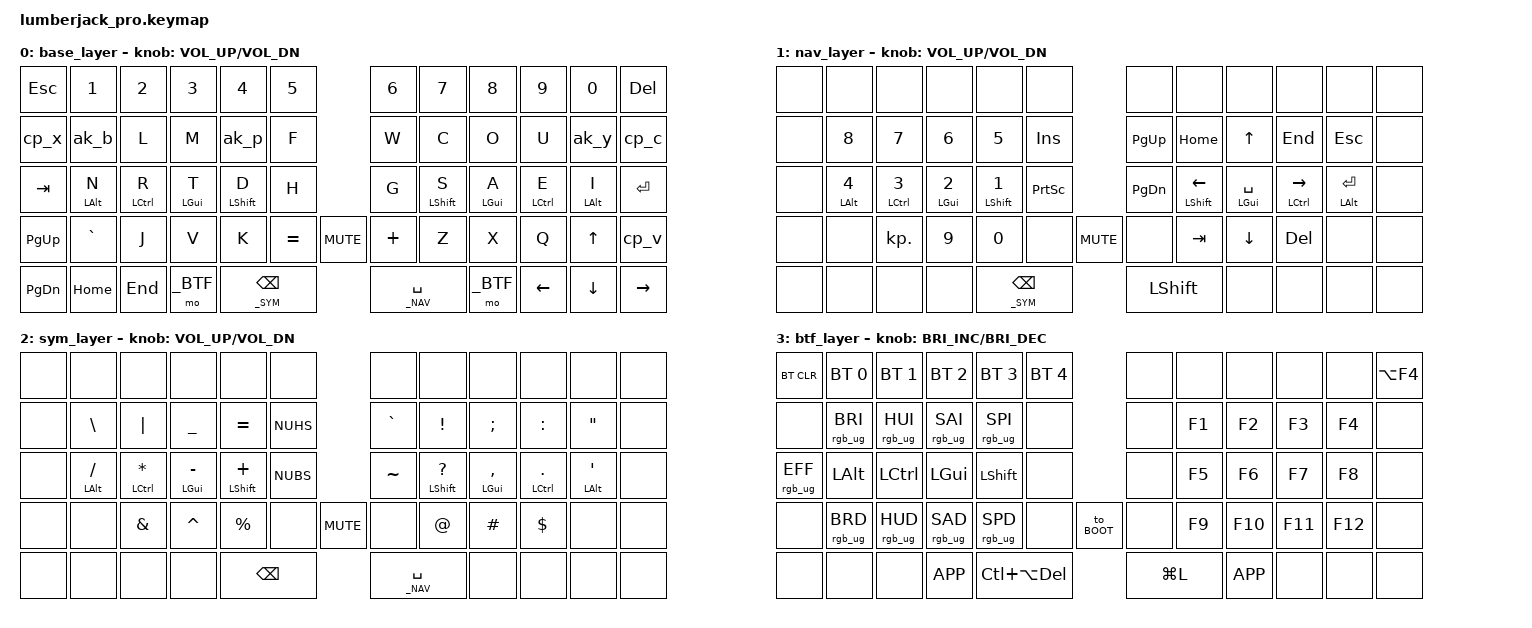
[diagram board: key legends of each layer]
/*
 * Copyright (c) 2021 The ZMK Contributors
 *
 * SPDX-License-Identifier: MIT
 */

#include <behaviors.dtsi>
#include <dt-bindings/zmk/keys.h>
#include <dt-bindings/zmk/bt.h>
#include <dt-bindings/zmk/outputs.h>
#include <dt-bindings/zmk/pointing.h>
#include <dt-bindings/zmk/rgb.h>
#include <dt-bindings/zmk/ext_power.h>
#include "keypos_34keys.h"

#define _BASE    0
#define _NAV     1
#define _SYM     2
#define _BTF     3
#define _MOUS    4

#define RGB_BASE RGB_COLOR_HSB(150,100,50)
#define RGB_SYM RGB_COLOR_HSB(20,100,50)
#define RGB_NAV RGB_COLOR_HSB(40,80,50)
#define RGB_BTF RGB_COLOR_HSB(180,100,60)
#define RGB_MOUS RGB_COLOR_HSB(100,100,60)

/ {

// ------------------------- MACROS --------------------------------
    macros {
        to_BASE: to_BASE {
            compatible = "zmk,behavior-macro";
            #binding-cells = <0>;
            wait-ms = <0>;
            tap-ms = <0>;
            bindings
                = <&rgb_ug RGB_BASE>
                , <&tog _NAV>
                ;
        };

        to_NAV: to_NAV {
            compatible = "zmk,behavior-macro";
            #binding-cells = <0>;
            wait-ms = <0>;
            tap-ms = <0>;
            bindings
                = <&rgb_ug RGB_NAV>
                , <&tog _NAV>
                ;
        };

        mo_BTF: mo_BTF {
            compatible = "zmk,behavior-macro";
            #binding-cells = <0>;
            wait-ms = <0>;
            tap-ms = <0>;
            bindings
                = <&macro_tap &rgb_ug RGB_BTF>
                , <&macro_press &mo _BTF>
                , <&macro_pause_for_release>
                , <&macro_tap &rgb_ug RGB_BASE>
                , <&macro_release &mo _BTF>
                ;
        };

        mo_MOUS: mo_MOUS {
            compatible = "zmk,behavior-macro";
            #binding-cells = <0>;
            wait-ms = <0>;
            tap-ms = <0>;
            bindings
                = <&macro_tap &rgb_ug RGB_MOUS>
                , <&macro_press &mo _MOUS>
                , <&macro_pause_for_release>
                , <&macro_tap &rgb_ug RGB_BASE>
                , <&macro_release &mo _MOUS>
                ;
        };

        to_BOOT: to_BOOT {
            compatible = "zmk,behavior-macro";
            #binding-cells = <0>;
            bindings
                = <&rgb_ug RGB_COLOR_HSB(0,100,100)>
                , <&rgb_ug RGB_ON>
                , <&bootloader>
                ;
        };

        mlc_ou: macro_lc_ou {
            compatible = "zmk,behavior-macro";
            #binding-cells = <0>;
            wait-ms = <0>;
            tap-ms = <5>;
            bindings
                = <&kp O>
                , <&kp U>
                ;
        };

        mlc_qu: macro_lc_qu {
            compatible = "zmk,behavior-macro";
            #binding-cells = <0>;
            wait-ms = <0>;
            tap-ms = <5>;
            bindings
                = <&kp Q>
                , <&kp U>
                ;
        };
    };

    combos {
        compatible = "zmk,combos";
// ------------------------- LAYER COMBOS --------------------------------
        // combo_BOOT {
        //     timeout-ms = <50>;
        //     key-positions = <0 11>;
        //     bindings = <&to_BOOT>;
        // };

        // combo_BTF {
        //     timeout-ms = <50>;
        //     key-positions = <LHO RHO>;
        //     bindings = <&mo_BTF>;
        // };

        // combo_NAVR {
        //     timeout-ms = <50>;
        //     key-positions = <RMP RHI>;
        //     bindings = <&to_NAV>;
        //     layers = <_BASE>;
        // };

        // combo_BASER {
        //     timeout-ms = <50>;
        //     key-positions = <RMP RHI>;
        //     bindings = <&to_BASE>;
        //     layers = <_NAV>;
        // };

        // combo_NAV {
        //     timeout-ms = <50>;
        //     key-positions = <52 55>;
        //     bindings = <&to_NAV>;
        //     layers = <_BASE>;
        // };

        // combo_BASE {
        //     timeout-ms = <50>;
        //     key-positions = <52 55>;
        //     bindings = <&to_BASE>;
        //     layers = <_NAV>;
        // };

// ------------------------- MODS COMBOS --------------------------------
        combo_CAPS {
            timeout-ms = <60>;
            key-positions = <LTI RTI>;
            bindings = <&caps_word>;
            require-prior-idle-ms = <100>;
            layers = <_BASE>;
        };

        combo_SHIFT {
            timeout-ms = <60>;
            key-positions = <LMI RMI>;
            bindings = <&sk LSHIFT>;
            require-prior-idle-ms = <100>;
            layers = <_BASE>;
        };


// ------------------------- SYMBOL COMBOS --------------------------------
        combo_LPAR {
            timeout-ms = <60>;
            require-prior-idle-ms = <200>;
            key-positions = <LHI LMI>;
            bindings = <&kp LPAR>;
            layers = <_BASE _SYM>;
        };

        combo_RPAR {
            timeout-ms = <60>;
            require-prior-idle-ms = <200>;
            key-positions = <RMI RHI>;
            bindings = <&kp RPAR>;
            layers = <_BASE _SYM>;
        };

        combo_LBRC {
            timeout-ms = <60>;
            require-prior-idle-ms = <200>;
            key-positions = <LMM LHI>;
            bindings = <&kp LBRC>;
            layers = <_BASE _SYM>;
        };

        combo_RBRC {
            timeout-ms = <60>;
            require-prior-idle-ms = <200>;
            key-positions = <RMM RHI>;
            bindings = <&kp RBRC>;
            layers = <_BASE _SYM>;
        };

        combo_LBKT {
            timeout-ms = <60>;
            require-prior-idle-ms = <200>;
            key-positions = <LMR LHI>;
            bindings = <&kp LBKT>;
            layers = <_BASE _SYM>;
        };

        combo_RBKT {
            timeout-ms = <60>;
            require-prior-idle-ms = <200>;
            key-positions = <RMR RHI>;
            bindings = <&kp RBKT>;
            layers = <_BASE _SYM>;
        };

        combo_GT {
            timeout-ms = <60>;
            require-prior-idle-ms = <200>;
            key-positions = <RMP RHI>;
            bindings = <&kp GT>;
            layers = <_BASE _SYM>;
        };

        combo_LT {
            timeout-ms = <60>;
            require-prior-idle-ms = <200>;
            key-positions = <LMP LHI>;
            bindings = <&kp LT>;
            layers = <_BASE _SYM>;
        };

// ------------------------- CHARACTER COMBOS --------------------------------
        combo_QU {
            timeout-ms = <300>;
            key-positions = <RBM RBI>;
            bindings = <&mlc_qu>;
            layers = <_BASE>;
        };

        combo_OU {
            timeout-ms = <300>;
            key-positions = <RTM RTR>;
            bindings = <&mlc_ou>;
            layers = <_BASE>;
        };
    };

    behaviors {
// ------------------------- ENCODER -----------------------------------
        rot_kp: sensor_rotate_kp {
            compatible = "zmk,behavior-sensor-rotate-var";
            #sensor-binding-cells = <2>;
            bindings = <&kp>, <&kp>;
        };

// ------------------------- TAP-DANCES --------------------------------
        cp_c: cp_c {
            compatible = "zmk,behavior-tap-dance";
            #binding-cells = <0>;
            tapping-term-ms = <400>;
            bindings = <&kp LC(C)>, <&kp LG(C)>;
        };

        cp_v: cp_v {
            compatible = "zmk,behavior-tap-dance";
            #binding-cells = <0>;
            tapping-term-ms = <400>;
            bindings = <&kp LC(V)>, <&kp LG(V)>;
        };

        cp_x: cp_x {
            compatible = "zmk,behavior-tap-dance";
            #binding-cells = <0>;
            tapping-term-ms = <400>;
            bindings = <&kp LC(X)>, <&kp LG(X)>;
        };

        app_lock: app_lock {
            compatible = "zmk,behavior-tap-dance";
            #binding-cells = <0>;
            tapping-term-ms = <400>;
            bindings = <&kp K_APP>, <&kp LG(L)>, <&kp LC(LA(DEL))>;
        };

// ------------------------- HOLD-TAPS --------------------------------
        /* left-hand HRMs */
        hml: hrm_left {
            compatible = "zmk,behavior-hold-tap";
            #binding-cells = <2>;
            flavor = "tap-preferred";
            tapping-term-ms = <300>;
            quick-tap-ms = <170>;                // repeat on tap-into-hold
            require-prior-idle-ms = <250>;
            bindings = <&kp>, <&kp>;
            hold-trigger-key-positions = <KEYS_R THUMBS>;
            hold-trigger-on-release;             // delay positional check until key-release
        };

        /* right-hand HRMs */
        hmr: hrm_right {
            compatible = "zmk,behavior-hold-tap";
            #binding-cells = <2>;
            flavor = "tap-preferred";
            tapping-term-ms = <300>;
            quick-tap-ms = <170>;                // repeat on tap-into-hold
            require-prior-idle-ms = <250>;
            bindings = <&kp>, <&kp>;
            hold-trigger-key-positions = <KEYS_L THUMBS>;
            hold-trigger-on-release;             // delay positional check until key-release
        };

        rml: akr_left {
            compatible = "zmk,behavior-hold-tap";
            #binding-cells = <2>;
            flavor = "tap-preferred";
            tapping-term-ms = <300>;
            quick-tap-ms = <170>;                // repeat on tap-into-hold
            require-prior-idle-ms = <250>;
            bindings = <&kp>, <&ak_r>;
            hold-trigger-key-positions = <KEYS_R THUMBS>;
            hold-trigger-on-release;             // delay positional check until key-release
        };

        asl: aks_left {
            compatible = "zmk,behavior-hold-tap";
            #binding-cells = <2>;
            flavor = "balanced";
            tapping-term-ms = <300>;
            quick-tap-ms = <170>;                // repeat on tap-into-hold
            // require-prior-idle-ms = <100>;
            bindings = <&kp>, <&ak_d>;
            hold-trigger-key-positions = <KEYS_R THUMBS>;
            hold-trigger-on-release;             // delay positional check until key-release
        };

        hsl: hrs_left {
            compatible = "zmk,behavior-hold-tap";
            #binding-cells = <2>;
            flavor = "balanced";
            tapping-term-ms = <300>;
            quick-tap-ms = <170>;                // repeat on tap-into-hold
            // require-prior-idle-ms = <100>;
            bindings = <&kp>, <&kp>;
            hold-trigger-key-positions = <KEYS_R THUMBS>;
            hold-trigger-on-release;             // delay positional check until key-release
        };

        hsr: hrs_right {
            compatible = "zmk,behavior-hold-tap";
            #binding-cells = <2>;
            flavor = "balanced";
            tapping-term-ms = <300>;
            quick-tap-ms = <170>;                // repeat on tap-into-hold
            // require-prior-idle-ms = <100>;
            bindings = <&kp>, <&kp>;
            hold-trigger-key-positions = <KEYS_L THUMBS>;
            hold-trigger-on-release;             // delay positional check until key-release
        };

        bst: backspace-tap {
            compatible = "zmk,behavior-hold-tap";
            #binding-cells = <2>;
            flavor = "hold-preferred";
            tapping-term-ms = <200>;
            quick-tap-ms = <170>;
            //require-prior-idle-ms = <100>;
            bindings = <&mo>, <&kp>;
        };

        spt: space-tap {
            compatible = "zmk,behavior-hold-tap";
            #binding-cells = <2>;
            flavor = "balanced";
            tapping-term-ms = <250>;
            quick-tap-ms = <170>;
            //require-prior-idle-ms = <100>;
            bindings = <&mo>, <&kp>;
        };

        btf_nav: BTF-NAV-lock {
            compatible = "zmk,behavior-hold-tap";
            #binding-cells = <2>;
            flavor = "hold-preferred";
            tapping-term-ms = <250>;
            quick-tap-ms = <0>;
            //require-prior-idle-ms = <100>;
            bindings = <&mo_BTF>, <&to_NAV>;
        };

// ----------------------- ADAPTIVE-KEYS ------------------------------- 
        ak_d: ak_d {
            compatible = "zmk,behavior-adaptive-key";
            #binding-cells = <0>;
            bindings = <&kp D>;

            akt_th { trigger-keys = <T>; max-prior-idle-ms = <250>; bindings = <&kp H>; };
            akt_ch { trigger-keys = <C>; max-prior-idle-ms = <300>; bindings = <&kp H>; };
            akt_wh { trigger-keys = <W>; max-prior-idle-ms = <300>; bindings = <&kp H>; };
            akt_sh { trigger-keys = <S>; max-prior-idle-ms = <300>; bindings = <&kp H>; };
            akt_gh { trigger-keys = <G>; max-prior-idle-ms = <300>; bindings = <&kp H>; };

            akt_bn { trigger-keys = <B>; max-prior-idle-ms = <300>; bindings = <&kp N>; };
        };

        ak_b: ak_b {
            compatible = "zmk,behavior-adaptive-key";
            #binding-cells = <0>;
            bindings = <&kp B>;

            akt_sc { trigger-keys = <S>; max-prior-idle-ms = <300>; bindings = <&kp C>; };
            akt_ph { trigger-keys = <P>; max-prior-idle-ms = <300>; bindings = <&kp H>; };
        };

        ak_r: ak_r {
            compatible = "zmk,behavior-adaptive-key";
            #binding-cells = <0>;
            bindings = <&kp R>;

            akt_ng { trigger-keys = <N>; max-prior-idle-ms = <300>; bindings = <&kp G>; };
        };

        ak_p: ak_p {
            compatible = "zmk,behavior-adaptive-key";
            #binding-cells = <0>;
            bindings = <&kp P>;

            akt_tv { trigger-keys = <T>; max-prior-idle-ms = <300>; bindings = <&kp V>; };
            // akt_br { trigger-keys = <B>; max-prior-idle-ms = <300>; bindings = <&kp R>; };
            // akt_cr { trigger-keys = <C>; max-prior-idle-ms = <300>; bindings = <&kp R>; };
        };

        ak_y: ak_y {
            compatible = "zmk,behavior-adaptive-key";
            #binding-cells = <0>;
            bindings = <&kp Y>;

            akt_ue { trigger-keys = <U>; max-prior-idle-ms = <300>; bindings = <&kp E>; };
        };

// ------------------------- MOD-MORPHS --------------------------------
        // mm_you: mm_you {
        //     compatible = "zmk,behavior-mod-morph";
        //     #binding-cells = <0>;
        //     bindings = <&mlc_you>, <&muc_you>;
        //     mods = <(MOD_LSFT)>;
        // };

        // mm_the: mm_the {
        //     compatible = "zmk,behavior-mod-morph";
        //     #binding-cells = <0>;
        //     bindings = <&mlc_the>, <&muc_the>;
        //     mods = <(MOD_LSFT)>;
        // };
    };

    keymap {
        compatible = "zmk,keymap";

                base_layer {
// ----------------------------------------------------------------------------------
// | ESC |  1  |  2  |  3  |  4  |  5  |        |  6  |  7  |  8  |  9  |  0  | DEL |
// | cut |  B  |  L  |  M  |  P  |  F  |        |  W  |  C  |  O  |  U  |  Y  | cpy |
// | TAB |  N  |  R  |  T  |  D  |  H  |        |  G  |  S  |  A  |  E  |  I  | RET |
// | pUP | ` ~ |  J  |  V  |  K  |  =  |  MUTE  |  +  |  Z  |  X  |  Q  | UP  | pst |
// | pDN | HOM | END |_BTF |_SYM(BSPC) |        | _NAV(SPC) |_BTF | LEFT| DOWN| RGHT|
                        bindings = <
   &kp ESC    &kp N1       &kp N2       &kp N3      &kp N4       &kp N5                 &kp N6   &kp N7       &kp N8      &kp N9       &kp N0      &kp DEL
   &cp_x      &ak_b        &kp L        &kp M       &ak_p        &kp F                  &kp W    &kp C        &kp O       &kp U        &ak_y       &cp_c
   &kp TAB    &hml LALT N  &rml LCTRL R &hml LGUI T &asl LSHFT D &kp H                  &kp G    &hsr LSHFT S &hmr LGUI A &hmr LCTRL E &hmr LALT I &kp RET
   &kp PG_UP  &kp GRAVE    &kp J        &kp V       &kp K        &kp EQUAL  &kp C_MUTE  &kp PLUS &kp Z        &kp X       &kp Q        &kp UP      &cp_v
   &kp PG_DN  &kp HOME     &kp END      &mo _BTF         &bst _SYM BSPC                     &spt _NAV SPACE   &mo _BTF    &kp LEFT     &kp DOWN    &kp RIGHT
                        >;
                        sensor-bindings = <&rot_kp C_VOL_UP C_VOL_DN>;
                };

                nav_layer {
// -------------------------------------------------------------------------------------
// |     |     |     |     |     |     |        |     |      |      |      |     |     |
// |     |  8  |  7  |  6  |  5  | INS |        | pUP | HOME |  UP  | END  | ESC |     |
// |     |  4  |  3  |  2  |  1  | PSC |        | pDN | LEFT | SPC  | RGHT | RET |     |
// |     |     | . , |  9  |  0  |     |  MUTE  |     | TAB  | DOWN | DEL  |     |     |
// |     |     |     |_BASE|_SYM(BSPC) |        |    SHFT    |_BASE |      |     |     |
                        bindings = <
   &none   &none        &none         &none        &none         &none                &none     &none           &none           &none            &none         &none
   &none   &kp N8       &kp N7        &kp N6       &kp N5        &kp INS              &kp PG_UP &kp HOME        &kp UP          &kp END          &kp ESC       &none
   &none   &hml LALT N4 &hml LCTRL N3 &hml LGUI N2 &hsl LSHFT N1 &kp PSCRN            &kp PG_DN &hsr LSHFT LEFT &hmr LGUI SPACE &hmr LCTRL RIGHT &hmr LALT RET &none
   &none   &none        &kp KP_DOT    &kp N9       &kp N0        &none     &kp C_MUTE &none     &kp TAB         &kp DOWN        &kp DEL          &none         &none
   &none   &none        &none         &none             &bst _SYM BSPC                      &kp LSHFT           &none           &none            &none         &none
                        >;
                        sensor-bindings = <&rot_kp C_VOL_UP C_VOL_DN>;
                };
                
                sym_layer {
// --------------------------------------------------------------------------------
// |     |     |     |     |     |     |      |     |     |     |     |     |     |
// |     |  \  |  |  |  _  |  =  |  \  |      |  `  |  !  |  ;  |  :  |  "  |     |
// |     |  /  |  *  |  -  |  +  |  §  |      |  ~  |  ?  |  ,  |  .  |  '  |     |
// |     |     |  &  |  ^  |  %  |     | MUTE |     |  @  |  #  |  $  |     |     |
// |     |     |     |     |   BSPC    |      | _NAV(SPC) |     |     |     |     |
                        bindings = <
   &none   &none           &none           &none           &none           &none               &none     &none            &none           &none          &none         &none
   &none   &kp BSLH        &kp PIPE        &kp UNDER       &kp EQUAL       &kp NUHS            &kp GRAVE &kp EXCL         &kp SEMI        &kp COLON      &kp DQT       &none
   &none   &hml LALT SLASH &hml LCTRL STAR &hml LGUI MINUS &hsl LSHFT PLUS &kp NUBS            &kp TILDE &hsr LSHFT QMARK &hmr LGUI COMMA &hmr LCTRL DOT &hmr LALT SQT &none
   &none   &none           &kp AMPS        &kp CARET       &kp PRCNT       &none    &kp C_MUTE &none     &kp AT           &kp HASH        &kp DLLR       &none         &none
   &none   &none           &none           &none                   &kp BSPC                         &spt _NAV SPACE       &none           &none          &none         &none
                        >;
                        sensor-bindings = <&rot_kp C_VOL_UP C_VOL_DN>;
                };
                
                btf_layer {
// --------------------------------------------------------------------------------
// | CLR | BT1 | BT2 | BT3 | BT4 | BT5 |      |     |     |     |     |     | CLS |
// |     | br+ | hu+ | sa+ | sp+ |     |      |     | F1  | F2  | F3  | F4  |     |
// | eff | ALT | CTL | GUI | SFT |     |      |     | F5  | F6  | F7  | F8  |     |
// |     | br- | hu- | sa- | sp- |     | BOOT |     | F9  | F10 | F11 | F12 |     |
// |     |     |     | APP |   RESET   |      |  LOCK SCR | APP |     |     |     |
                        bindings = <
   &bt BT_CLR      &bt BT_SEL 0    &bt BT_SEL 1    &bt BT_SEL 2    &bt BT_SEL 3    &bt BT_SEL 4         &none  &none   &none     &none    &none    &kp LA(F4)
   &none           &rgb_ug RGB_BRI &rgb_ug RGB_HUI &rgb_ug RGB_SAI &rgb_ug RGB_SPI &none                &none  &kp F1  &kp F2    &kp F3   &kp F4   &none                
   &rgb_ug RGB_EFF &kp LALT        &kp LCTRL       &kp LGUI        &kp LSHFT       &none                &none  &kp F5  &kp F6    &kp F7   &kp F8   &none                
   &none           &rgb_ug RGB_BRD &rgb_ug RGB_HUD &rgb_ug RGB_SAD &rgb_ug RGB_SPD &none    &to_BOOT    &none  &kp F9  &kp F10   &kp F11  &kp F12  &none    
   &none           &none           &none           &kp K_APP             &kp LC(LA(DEL))                  &kp LG(L)    &kp K_APP &none    &none    &none
                        >;
                        sensor-bindings = <&rot_kp C_BRI_INC C_BRI_DEC>;
                };   

                extra1 {
                        status = "reserved";
                };

                extra2 {
                        status = "reserved";
                };
             
    };
};
